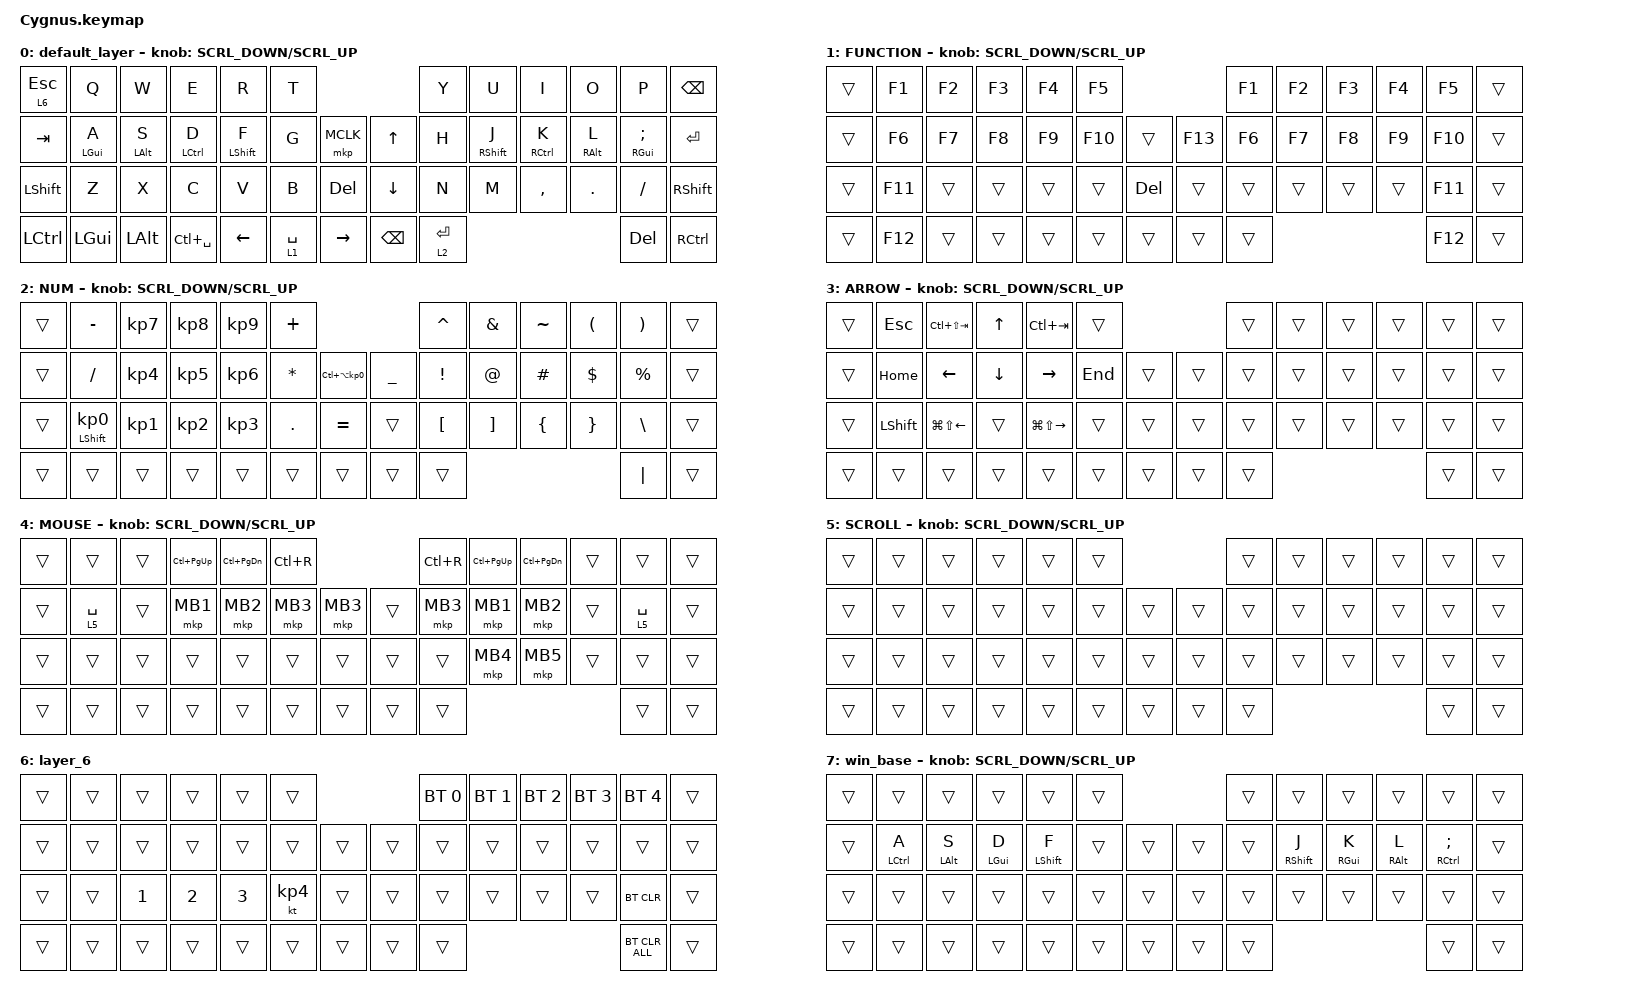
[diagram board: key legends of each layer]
#define ZMK_POINTING_DEFAULT_SCRL_VAL 120    // default: 10

#include <behaviors.dtsi>
#include <dt-bindings/zmk/bt.h>
#include <dt-bindings/zmk/keys.h>
#include <dt-bindings/zmk/pointing.h>

#define MOUSE 4
#define SCROLL 5
#define NUM 6

&mt {
    flavor = "balanced";
};

&lt {
    tapping-term-ms = <150>;
    quick-tap-ms = <150>;
};

/ {
    combos {
        compatible = "zmk,combos";

        double_quotation {
            bindings = <&kp DOUBLE_QUOTES>;
            key-positions = <20 21>;
        };
    };

    macros {
        to_layer_0: to_layer_0 {
            compatible = "zmk,behavior-macro-one-param";
            #binding-cells = <1>;
            bindings = <&to 0 &macro_param_1to1 &kp MACRO_PLACEHOLDER>;
            label = "TO_LAYER_0";
        };
    };

    behaviors {
        hm: homerow_mods {
            compatible = "zmk,behavior-hold-tap";
            #binding-cells = <2>;
            flavor = "balanced";
            tapping-term-ms = <150>;
            require-prior-idle-ms = <125>;
            quick-tap-ms = <150>;
            bindings = <&kp>, <&kp>;
        };

        lt_to_layer_0: lt_to_layer_0 {
            compatible = "zmk,behavior-hold-tap";
            label = "LAYER_TAP_TO_0";
            bindings = <&mo>, <&to_layer_0>;

            #binding-cells = <2>;
            tapping-term-ms = <150>;
        };

        ROTATE: ROTATE {
            compatible = "zmk,behavior-sensor-rotate-var";
            label = "ROTATE";
            #sensor-binding-cells = <2>;
            bindings = <&msc>, <&msc>;

            tap-ms = <20>;
        };
    };

    keymap {
        compatible = "zmk,keymap";

        default_layer {
            bindings = <
&lt 6 ESC  &kp Q     &kp W     &kp E          &kp R           &kp T                                           &kp Y        &kp U  &kp I      &kp O    &kp P        &kp BSPC
&kp TAB    &hm LGUI A  &hm LALT S  &hm LCTRL D  &hm LSHFT F  &kp G  &mkp MCLK          &kp UP_ARROW    &kp H  &hm RSHFT J  &hm RCTRL K  &hm RALT L  &hm RGUI SEMI  &kp ENTER
&kp LSHFT  &kp Z     &kp X     &kp C          &kp V           &kp B        &kp DELETE         &kp DOWN_ARROW  &kp N        &kp M  &kp COMMA  &kp DOT  &kp FSLH     &kp RSHFT
&kp LCTRL  &kp LGUI  &kp LALT  &kp LC(SPACE)  &kp LEFT_ARROW  &lt 1 SPACE  &kp RIGHT_ARROW    &kp BACKSPACE   &lt 2 ENTER                             &kp DEL      &kp RCTRL
            >;

            sensor-bindings = <&ROTATE SCRL_DOWN SCRL_UP>;
        };

        FUNCTION {
            bindings = <
&trans  &kp F1   &kp F2  &kp F3  &kp F4  &kp F5                          &kp F1  &kp F2  &kp F3  &kp F4  &kp F5   &trans
&trans  &kp F6   &kp F7  &kp F8  &kp F9  &kp F10  &trans        &kp F13  &kp F6  &kp F7  &kp F8  &kp F9  &kp F10  &trans
&trans  &kp F11  &trans  &trans  &trans  &trans   &kp DELETE    &trans   &trans  &trans  &trans  &trans  &kp F11  &trans
&trans  &kp F12  &trans  &trans  &trans  &trans   &trans        &trans   &trans                          &kp F12  &trans
            >;

            sensor-bindings = <&ROTATE SCRL_DOWN SCRL_UP>;
        };

        NUM {
            bindings = <
&trans  &kp MINUS                   &kp KP_NUMBER_7  &kp KP_NUMBER_8  &kp KP_NUMBER_9  &kp PLUS                                                 &kp CARET         &kp AMPERSAND      &kp TILDE       &kp LEFT_PARENTHESIS  &kp RIGHT_PARENTHESIS  &trans
&trans  &kp SLASH                   &kp KP_NUMBER_4  &kp KP_NUMBER_5  &kp KP_NUMBER_6  &kp ASTERISK  &kp LC(LA(KP_NUMBER_0))    &kp UNDERSCORE  &kp EXCLAMATION   &kp AT_SIGN        &kp HASH        &kp DOLLAR            &kp PERCENT            &trans
&trans  &mt LEFT_SHIFT KP_NUMBER_0  &kp KP_NUMBER_1  &kp KP_NUMBER_2  &kp KP_NUMBER_3  &kp PERIOD    &kp EQUAL                  &trans          &kp LEFT_BRACKET  &kp RIGHT_BRACKET  &kp LEFT_BRACE  &kp RIGHT_BRACE       &kp BACKSLASH          &trans
&trans  &trans                      &trans           &trans           &trans           &trans        &trans                     &trans          &trans                                                                     &kp PIPE               &trans
            >;

            sensor-bindings = <&ROTATE SCRL_DOWN SCRL_UP>;
        };

        ARROW {
            bindings = <
&trans  &kp ESCAPE      &kp LC(LS(TAB))         &kp UP_ARROW    &kp LC(TAB)              &trans                     &trans  &trans  &trans  &trans  &trans  &trans
&trans  &kp HOME        &kp LEFT_ARROW          &kp DOWN_ARROW  &kp RIGHT_ARROW          &kp END  &trans    &trans  &trans  &trans  &trans  &trans  &trans  &trans
&trans  &kp LEFT_SHIFT  &kp LG(LS(LEFT_ARROW))  &trans          &kp LG(LS(RIGHT_ARROW))  &trans   &trans    &trans  &trans  &trans  &trans  &trans  &trans  &trans
&trans  &trans          &trans                  &trans          &trans                   &trans   &trans    &trans  &trans                          &trans  &trans
            >;

            sensor-bindings = <&ROTATE SCRL_DOWN SCRL_UP>;
        };

        MOUSE {
            bindings = <
&trans  &trans       &trans  &kp LC(PAGE_UP)  &kp LC(PAGE_DOWN)  &kp LC(R)                      &kp LC(R)  &kp LC(PAGE_UP)  &kp LC(PAGE_DOWN)  &trans  &trans       &trans
&trans  &lt 5 SPACE  &trans  &mkp MB1         &mkp MB2           &mkp MB3   &mkp MB3    &trans  &mkp MB3   &mkp MB1         &mkp MB2           &trans  &lt 5 SPACE  &trans
&trans  &trans       &trans  &trans           &trans             &trans     &trans      &trans  &trans     &mkp MB4         &mkp MB5           &trans  &trans       &trans
&trans  &trans       &trans  &trans           &trans             &trans     &trans      &trans  &trans                                                 &trans       &trans
            >;

            sensor-bindings = <&ROTATE SCRL_DOWN SCRL_UP>;
        };

        SCROLL {
            bindings = <
&trans  &trans  &trans  &trans  &trans  &trans                    &trans  &trans  &trans  &trans  &trans  &trans
&trans  &trans  &trans  &trans  &trans  &trans  &trans    &trans  &trans  &trans  &trans  &trans  &trans  &trans
&trans  &trans  &trans  &trans  &trans  &trans  &trans    &trans  &trans  &trans  &trans  &trans  &trans  &trans
&trans  &trans  &trans  &trans  &trans  &trans  &trans    &trans  &trans                          &trans  &trans
            >;

            sensor-bindings = <&ROTATE SCRL_DOWN SCRL_UP>;
        };

        layer_6 {
            bindings = <
&trans  &trans  &trans        &trans        &trans        &trans                       &bt BT_SEL 0  &bt BT_SEL 1  &bt BT_SEL 2  &bt BT_SEL 3  &bt BT_SEL 4    &trans
&trans  &trans  &trans        &trans        &trans        &trans     &trans    &trans  &trans        &trans        &trans        &trans        &trans          &trans
&trans  &trans  &kp NUMBER_1  &kp NUMBER_2  &kp NUMBER_3  &kt KP_N4  &trans    &trans  &trans        &trans        &trans        &trans        &bt BT_CLR      &trans
&trans  &trans  &trans        &trans        &trans        &trans     &trans    &trans  &trans                                                  &bt BT_CLR_ALL  &trans
            >;
        };

        extra1 {
            status = "reserved";
        };

        extra2 {
            status = "reserved";
        };

        extra3 {
            status = "reserved";
        };

        extra4 {
            status = "reserved";
        };

        extra5 {
            status = "reserved";
        };

        extra6 {
            status = "reserved";
        };

        extra7 {
            status = "reserved";
        };

        win_base {
            bindings = <
&trans  &trans  &trans  &trans  &trans  &trans                    &trans  &trans  &trans  &trans  &trans  &trans
&trans  &hm LCTRL A  &hm LALT S  &hm LGUI D  &hm LSHFT F  &trans  &trans    &trans  &trans  &hm RSHFT J  &hm RGUI K  &hm RALT L  &hm RCTRL SEMI  &trans
&trans  &trans  &trans  &trans  &trans  &trans  &trans            &trans  &trans  &trans  &trans  &trans  &trans  &trans
&trans  &trans  &trans  &trans  &trans  &trans  &trans            &trans  &trans                          &trans  &trans
            >;

            sensor-bindings = <&ROTATE SCRL_DOWN SCRL_UP>;
        };
    };
};
